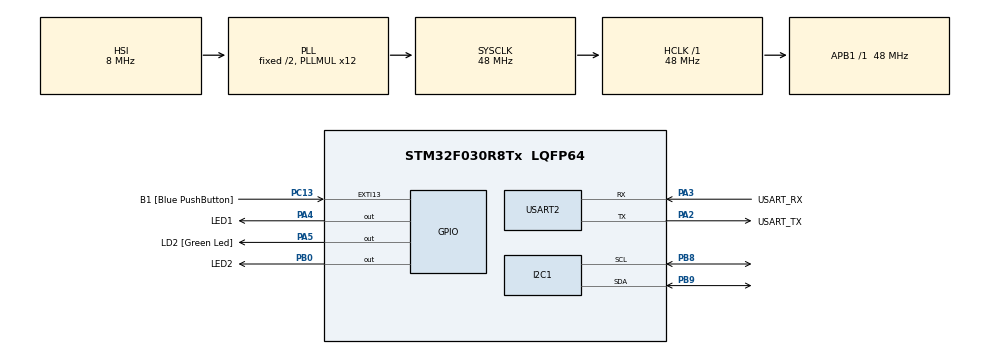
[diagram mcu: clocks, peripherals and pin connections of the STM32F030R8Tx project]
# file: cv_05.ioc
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Dma.Request0=USART2_RX
Dma.USART2_RX.0.Direction=DMA_PERIPH_TO_MEMORY
Dma.USART2_RX.0.Instance=DMA1_Channel5
Dma.USART2_RX.0.MemDataAlignment=DMA_MDATAALIGN_BYTE
Dma.USART2_RX.0.MemInc=DMA_MINC_ENABLE
Dma.USART2_RX.0.Mode=DMA_CIRCULAR
Dma.USART2_RX.0.PeriphDataAlignment=DMA_PDATAALIGN_BYTE
Dma.USART2_RX.0.PeriphInc=DMA_PINC_DISABLE
Dma.USART2_RX.0.Priority=DMA_PRIORITY_LOW
Mcu.Family=STM32F0
Mcu.Name=STM32F030R8Tx
Mcu.Package=LQFP64
NVIC.DMA1_Channel4_5_IRQn=true\:0\:0\:false\:false\:true\:false\:true
PA13.GPIO_Label=TMS
PA13.Mode=Serial_Wire
PA13.Signal=SYS_SWDIO
PA14.GPIO_Label=TCK
PA14.Mode=Serial_Wire
PA14.Signal=SYS_SWCLK
PA2.GPIO_Label=USART_TX
PA2.GPIO_Mode=GPIO_MODE_AF_PP
PA2.GPIO_PuPd=GPIO_NOPULL
PA2.GPIO_Speed=GPIO_SPEED_FREQ_LOW
PA2.Mode=Asynchronous
PA2.Signal=USART2_TX
PA3.GPIO_Label=USART_RX
PA3.GPIO_Mode=GPIO_MODE_AF_PP
PA3.GPIO_PuPd=GPIO_NOPULL
PA3.GPIO_Speed=GPIO_SPEED_FREQ_LOW
PA3.Mode=Asynchronous
PA3.Signal=USART2_RX
PA4.GPIO_Label=LED1
PA4.Signal=GPIO_Output
PA5.GPIO_Label=LD2 [Green Led]
PA5.GPIO_Mode=GPIO_MODE_OUTPUT_PP
PA5.GPIO_PuPd=GPIO_NOPULL
PA5.GPIO_Speed=GPIO_SPEED_FREQ_LOW
PA5.Signal=GPIO_Output
PB0.GPIO_Label=LED2
PB0.Signal=GPIO_Output
PB8.Mode=I2C
PB8.Signal=I2C1_SCL
PB9.Mode=I2C
PB9.Signal=I2C1_SDA
PC13.GPIO_Label=B1 [Blue PushButton]
PC13.GPIO_ModeDefaultEXTI=GPIO_MODE_IT_FALLING
PC13.Signal=GPXTI13
PC14-OSC32_IN.Mode=LSE-External-Oscillator
PC14-OSC32_IN.Signal=RCC_OSC32_IN
PC15-OSC32_OUT.Mode=LSE-External-Oscillator
PC15-OSC32_OUT.Signal=RCC_OSC32_OUT
PF0-OSC_IN.Mode=HSE-External-Clock-Source
PF0-OSC_IN.Signal=RCC_OSC_IN
PF1-OSC_OUT.Signal=RCC_OSC_OUT
ProjectManager.HeapSize=0x200
ProjectManager.StackSize=0x400
ProjectManager.TargetToolchain=STM32CubeIDE
RCC.AHBFreq_Value=48000000
RCC.APB1Freq_Value=48000000
RCC.APB1TimFreq_Value=48000000
RCC.HCLKFreq_Value=48000000
RCC.PLLMUL=RCC_PLL_MUL12
RCC.SYSCLKFreq_VALUE=48000000
RCC.SYSCLKSource=RCC_SYSCLKSOURCE_PLLCLK
USART2.VirtualMode-Asynchronous=VM_ASYNC
board=NUCLEO-F030R8

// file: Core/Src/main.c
/* USER CODE BEGIN Header */
/**
  ******************************************************************************
  * @file           : main.c
  * @brief          : Main program body
  ******************************************************************************
  * @attention
  *
  * <h2><center>&copy; Copyright (c) 2020 STMicroelectronics.
  * All rights reserved.</center></h2>
  *
  * This software component is licensed by ST under BSD 3-Clause license,
  * the "License"; You may not use this file except in compliance with the
  * License. You may obtain a copy of the License at:
  *                        opensource.org/licenses/BSD-3-Clause
  *
  ******************************************************************************
  */
/* USER CODE END Header */
#include "main.h"

/* USER CODE BEGIN Includes */

#include <stdio.h>
#include <string.h>

/* USER CODE END Includes */

/* USER CODE BEGIN PD */

#define RX_BUFFER_LEN 			64		// UART RX BUFFER LENGTH
#define CMD_BUFFER_LEN 			256		// CMD BUFFER LENGTH
#define uart_rx_write_ptr 		(RX_BUFFER_LEN - hdma_usart2_rx.Instance->CNDTR)
#define EEPROM_ADDR 			0xA0
#define EEPROM_DUMP_LEN			16

/* USER CODE END PD */

I2C_HandleTypeDef hi2c1;

UART_HandleTypeDef huart2;
DMA_HandleTypeDef hdma_usart2_rx;

void SystemClock_Config(void);
static void MX_GPIO_Init(void);
static void MX_DMA_Init(void);
static void MX_USART2_UART_Init(void);
static void MX_I2C1_Init(void);
/* USER CODE BEGIN PFP */

static uint8_t uart_rx_buf[RX_BUFFER_LEN];			// RX buffer
static volatile uint16_t uart_rx_read_ptr = 0;		// Pointer to RX buffer

/* USER CODE END PFP */

/* USER CODE BEGIN 0 */

int _write(int file, char const *buf, int n)
{
	/* stdout redirection to UART2 */

	HAL_UART_Transmit(&huart2, (uint8_t*)(buf), n, HAL_MAX_DELAY);

	return n;
}

static void uart_process_command(char *cmd)
{
	//printf("prijato: '%s'\n", cmd);

	char *token;

	token = strtok(cmd, " ");

	if (strcasecmp(token, "HELLO") == 0)		// HELLO command
	{
		printf("Komunikace OK\n");
	}
	else if (strcasecmp(token, "LED1") == 0) 	// LED1 command
	{
		token = strtok(NULL, " ");
		if (strcasecmp(token, "ON") == 0)
		{
			HAL_GPIO_WritePin(LED1_GPIO_Port, LED1_Pin, GPIO_PIN_SET);		// LED1 ON
		}
		else if (strcasecmp(token, "OFF") == 0)
		{
			HAL_GPIO_WritePin(LED1_GPIO_Port, LED1_Pin, GPIO_PIN_RESET); 	// LED1 OFF
		}
	 printf("OK\n");
	}
	else if (strcasecmp(token, "LED2") == 0)	// LED2 command
	{
		token = strtok(NULL, " ");
		if (strcasecmp(token, "ON") == 0)
		{
			HAL_GPIO_WritePin(LED2_GPIO_Port, LED1_Pin, GPIO_PIN_SET); 		// LED2 ON
		}
		else if (strcasecmp(token, "OFF") == 0)
		{
			HAL_GPIO_WritePin(LED2_GPIO_Port, LED2_Pin, GPIO_PIN_RESET);	// LED2 OFF
		}
	printf("OK\n");
	}
	else if (strcasecmp(token, "STATUS") == 0)		// STATUS command
	{
		if (HAL_GPIO_ReadPin(LED1_GPIO_Port, LED1_Pin) == 0)
		{
			printf("LED1 ON, ");
		}
		else
		{
			printf("LED1 OFF, ");
		}

		if (HAL_GPIO_ReadPin(LED2_GPIO_Port, LED2_Pin) == 0)
		{
			printf("LED2 ON\n");
		}
		else
		{
			printf("LED2 OFF\n");
		}
	}
	else if (strcasecmp(token, "READ") == 0) 	// READ command from EEPROM
	{
		token = strtok(NULL, " ");
		uint16_t addr = atoi(token);
		uint8_t value;

		HAL_I2C_Mem_Read(&hi2c1, EEPROM_ADDR, addr, I2C_MEMADD_SIZE_16BIT, &value, 1, 1000); 		// I2C read func

		printf("Hodnota na adrese 0x%04X = 0x%02X\n", addr, value);

	}
	else if (strcasecmp(token, "WRITE") == 0) 	// WRITE command to EEPROM
	{
		token = strtok(NULL, " ");
		uint16_t addr = atoi(token);
		token = strtok(NULL, " ");
		uint8_t value = atoi(token);

		HAL_I2C_Mem_Write(&hi2c1, EEPROM_ADDR, addr, I2C_MEMADD_SIZE_16BIT, &value, 1, 1000); 		// I2C write func

		/* Check if the EEPROM is ready for a new operation */
		while (HAL_I2C_IsDeviceReady(&hi2c1, EEPROM_ADDR, 300, 1000) == HAL_TIMEOUT) {} 			// I2C Delay for EEPROM

		printf("Zapsana hodnota na adresu 0x%04X = 0x%02X\n", addr, value);

	}
	else if (strcasecmp(token, "DUMP") == 0) 	// DUMP command - read all EEPROM
	{
		printf("Vypis z EEPROM:\n");
		uint8_t value;

		for(uint16_t addr = 0; addr < EEPROM_DUMP_LEN; addr++)
		{
			HAL_I2C_Mem_Read(&hi2c1, EEPROM_ADDR, addr, I2C_MEMADD_SIZE_16BIT, &value, 1, 1000); 		// I2C write func

			printf("0x%02X ", value);
		}
		printf("\nHOTOVO\n");

	}
	else
	{
		printf("Spatny prikaz\n");
	}

}

static void uart_byte_available(uint8_t c)
{
	static uint16_t cnt;
	static char data[CMD_BUFFER_LEN];

	if (cnt < CMD_BUFFER_LEN && c >= 32 && c <= 126)		// Only ASCII characters
		data[cnt++] = c;

	if ((c == '\n' || c == '\r') && cnt > 0)				// For special characters - cmd complete
	{
		data[cnt] = '\0';
		uart_process_command(data);
		cnt = 0;
	}
}

/* USER CODE END 0 */

int main(void)
{

  /* MCU Configuration--------------------------------------------------------*/

  /* Reset of all peripherals, Initializes the Flash interface and the Systick. */
  HAL_Init();

  /* Configure the system clock */
  SystemClock_Config();

  /* Initialize all configured peripherals */
  MX_GPIO_Init();
  MX_DMA_Init();
  MX_USART2_UART_Init();
  MX_I2C1_Init();
  /* USER CODE BEGIN 2 */

  HAL_UART_Receive_DMA(&huart2, uart_rx_buf, RX_BUFFER_LEN);		// Reading from UART to DMA

  /* USER CODE END 2 */

  /* Infinite loop */
  while (1)
  {

    /* USER CODE BEGIN 3 */

	  while (uart_rx_read_ptr != uart_rx_write_ptr)
	  {
		  uint8_t b = uart_rx_buf[uart_rx_read_ptr];
		  if (++uart_rx_read_ptr >= RX_BUFFER_LEN)
			  uart_rx_read_ptr = 0; // increase read pointer
		  uart_byte_available(b); // process every received byte with the RX state machine
	  }

  }
  /* USER CODE END 3 */
}

void SystemClock_Config(void)
{
  RCC_OscInitTypeDef RCC_OscInitStruct = {0};
  RCC_ClkInitTypeDef RCC_ClkInitStruct = {0};
  RCC_PeriphCLKInitTypeDef PeriphClkInit = {0};

  /** Initializes the RCC Oscillators according to the specified parameters
  * in the RCC_OscInitTypeDef structure.
  */
  RCC_OscInitStruct.OscillatorType = RCC_OSCILLATORTYPE_HSI;
  RCC_OscInitStruct.HSIState = RCC_HSI_ON;
  RCC_OscInitStruct.HSICalibrationValue = RCC_HSICALIBRATION_DEFAULT;
  RCC_OscInitStruct.PLL.PLLState = RCC_PLL_ON;
  RCC_OscInitStruct.PLL.PLLSource = RCC_PLLSOURCE_HSI;
  RCC_OscInitStruct.PLL.PLLMUL = RCC_PLL_MUL12;
  RCC_OscInitStruct.PLL.PREDIV = RCC_PREDIV_DIV1;
  if (HAL_RCC_OscConfig(&RCC_OscInitStruct) != HAL_OK)
  {
    Error_Handler();
  }
  /** Initializes the CPU, AHB and APB buses clocks
  */
  RCC_ClkInitStruct.ClockType = RCC_CLOCKTYPE_HCLK|RCC_CLOCKTYPE_SYSCLK
                              |RCC_CLOCKTYPE_PCLK1;
  RCC_ClkInitStruct.SYSCLKSource = RCC_SYSCLKSOURCE_PLLCLK;
  RCC_ClkInitStruct.AHBCLKDivider = RCC_SYSCLK_DIV1;
  RCC_ClkInitStruct.APB1CLKDivider = RCC_HCLK_DIV1;

  if (HAL_RCC_ClockConfig(&RCC_ClkInitStruct, FLASH_LATENCY_1) != HAL_OK)
  {
    Error_Handler();
  }
  PeriphClkInit.PeriphClockSelection = RCC_PERIPHCLK_I2C1;
  PeriphClkInit.I2c1ClockSelection = RCC_I2C1CLKSOURCE_HSI;
  if (HAL_RCCEx_PeriphCLKConfig(&PeriphClkInit) != HAL_OK)
  {
    Error_Handler();
  }
}

static void MX_I2C1_Init(void)
{

  hi2c1.Instance = I2C1;
  hi2c1.Init.Timing = 0x2000090E;
  hi2c1.Init.OwnAddress1 = 0;
  hi2c1.Init.AddressingMode = I2C_ADDRESSINGMODE_7BIT;
  hi2c1.Init.DualAddressMode = I2C_DUALADDRESS_DISABLE;
  hi2c1.Init.OwnAddress2 = 0;
  hi2c1.Init.OwnAddress2Masks = I2C_OA2_NOMASK;
  hi2c1.Init.GeneralCallMode = I2C_GENERALCALL_DISABLE;
  hi2c1.Init.NoStretchMode = I2C_NOSTRETCH_DISABLE;
  if (HAL_I2C_Init(&hi2c1) != HAL_OK)
  {
    Error_Handler();
  }
  /** Configure Analogue filter
  */
  if (HAL_I2CEx_ConfigAnalogFilter(&hi2c1, I2C_ANALOGFILTER_ENABLE) != HAL_OK)
  {
    Error_Handler();
  }
  /** Configure Digital filter
  */
  if (HAL_I2CEx_ConfigDigitalFilter(&hi2c1, 0) != HAL_OK)
  {
    Error_Handler();
  }

}

static void MX_USART2_UART_Init(void)
{

  huart2.Instance = USART2;
  huart2.Init.BaudRate = 38400;
  huart2.Init.WordLength = UART_WORDLENGTH_8B;
  huart2.Init.StopBits = UART_STOPBITS_1;
  huart2.Init.Parity = UART_PARITY_NONE;
  huart2.Init.Mode = UART_MODE_TX_RX;
  huart2.Init.HwFlowCtl = UART_HWCONTROL_NONE;
  huart2.Init.OverSampling = UART_OVERSAMPLING_16;
  huart2.Init.OneBitSampling = UART_ONE_BIT_SAMPLE_DISABLE;
  huart2.AdvancedInit.AdvFeatureInit = UART_ADVFEATURE_NO_INIT;
  if (HAL_UART_Init(&huart2) != HAL_OK)
  {
    Error_Handler();
  }

}

static void MX_DMA_Init(void)
{

  /* DMA controller clock enable */
  __HAL_RCC_DMA1_CLK_ENABLE();

  /* DMA interrupt init */
  /* DMA1_Channel4_5_IRQn interrupt configuration */
  HAL_NVIC_SetPriority(DMA1_Channel4_5_IRQn, 0, 0);
  HAL_NVIC_EnableIRQ(DMA1_Channel4_5_IRQn);

}

static void MX_GPIO_Init(void)
{
  GPIO_InitTypeDef GPIO_InitStruct = {0};

  /* GPIO Ports Clock Enable */
  __HAL_RCC_GPIOC_CLK_ENABLE();
  __HAL_RCC_GPIOF_CLK_ENABLE();
  __HAL_RCC_GPIOA_CLK_ENABLE();
  __HAL_RCC_GPIOB_CLK_ENABLE();

  /*Configure GPIO pin Output Level */
  HAL_GPIO_WritePin(GPIOA, LED1_Pin|LD2_Pin, GPIO_PIN_RESET);

  /*Configure GPIO pin Output Level */
  HAL_GPIO_WritePin(LED2_GPIO_Port, LED2_Pin, GPIO_PIN_RESET);

  /*Configure GPIO pin : B1_Pin */
  GPIO_InitStruct.Pin = B1_Pin;
  GPIO_InitStruct.Mode = GPIO_MODE_IT_FALLING;
  GPIO_InitStruct.Pull = GPIO_NOPULL;
  HAL_GPIO_Init(B1_GPIO_Port, &GPIO_InitStruct);

  /*Configure GPIO pins : LED1_Pin LD2_Pin */
  GPIO_InitStruct.Pin = LED1_Pin|LD2_Pin;
  GPIO_InitStruct.Mode = GPIO_MODE_OUTPUT_PP;
  GPIO_InitStruct.Pull = GPIO_NOPULL;
  GPIO_InitStruct.Speed = GPIO_SPEED_FREQ_LOW;
  HAL_GPIO_Init(GPIOA, &GPIO_InitStruct);

  /*Configure GPIO pin : LED2_Pin */
  GPIO_InitStruct.Pin = LED2_Pin;
  GPIO_InitStruct.Mode = GPIO_MODE_OUTPUT_PP;
  GPIO_InitStruct.Pull = GPIO_NOPULL;
  GPIO_InitStruct.Speed = GPIO_SPEED_FREQ_LOW;
  HAL_GPIO_Init(LED2_GPIO_Port, &GPIO_InitStruct);

}

void Error_Handler(void)
{
}

/************************ (C) COPYRIGHT STMicroelectronics *****END OF FILE****/
